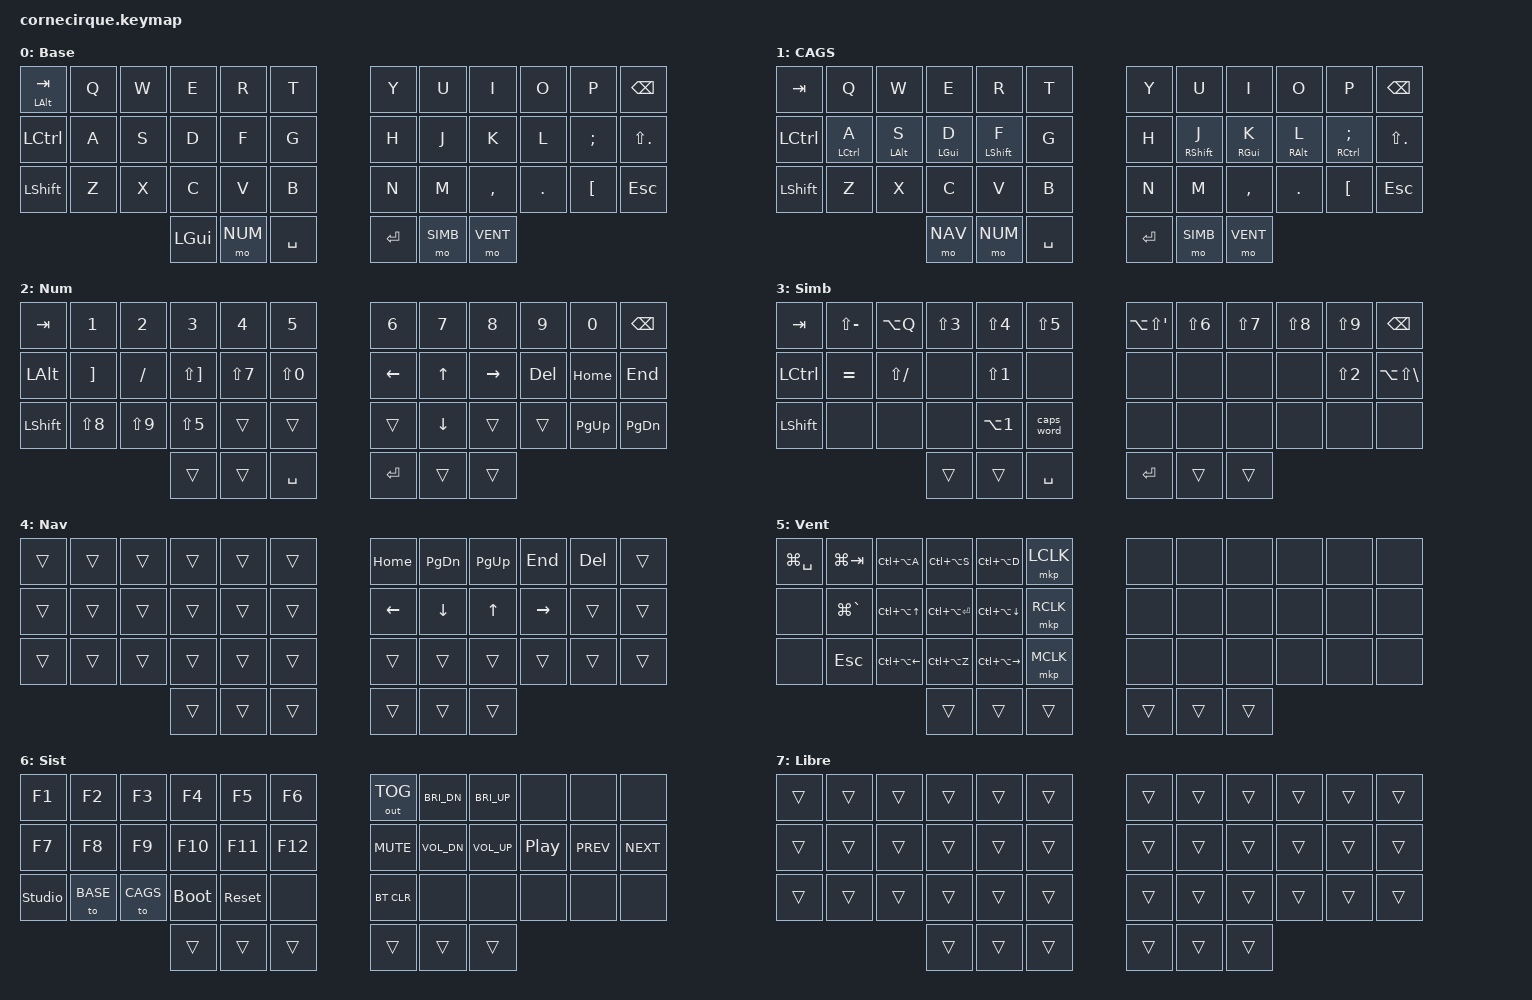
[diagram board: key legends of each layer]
/*
 * Corne + Cirque — keymap de Oscar
 * Diseñado el 7-sep-2026. Reemplaza el original de DevH.
 *
 * Punto de retorno: firmware-original-2026-09-01/
 *
 * POSICIONES DE LAS 42 TECLAS
 *    0  1  2  3  4  5  │  6  7  8  9 10 11
 *   12 13 14 15 16 17  │ 18 19 20 21 22 23
 *   24 25 26 27 28 29  │ 30 31 32 33 34 35
 *         36 37 38     │    39 40 41
 */

#include <behaviors.dtsi>
#include <dt-bindings/zmk/keys.h>
#include <dt-bindings/zmk/bt.h>
#include <dt-bindings/zmk/pointing.h>
#include <dt-bindings/zmk/outputs.h>

#define BASE    0   // base — aprendiendo (modificadores físicos)
#define CAGS    1   // base — home row mods CAGS
#define NUM     2   // números
#define SIMB    3   // símbolos
#define NAV     4   // flechas, HOME/END, DEL
#define VENT    5   // ventanas (Rectangle) + clics del trackpad
#define SIST    6   // F1-F12, volumen, brillo, Bluetooth, Studio
#define LIBRE   7   // reserva — Studio NO puede agregar capas después

// Manos, para la regla de combinaciones bilaterales
#define IZQ   0  1  2  3  4  5 12 13 14 15 16 17 24 25 26 27 28 29
#define DER   6  7  8  9 10 11 18 19 20 21 22 23 30 31 32 33 34 35
#define PULG 36 37 38 39 40 41

/ {
        behaviors {
                // Home row mods «timeless» (urob). Un modificador SOLO dispara
                // si la otra tecla está en la mano contraria.
                hml: home_row_izquierda {
                        compatible = "zmk,behavior-hold-tap";
                        #binding-cells = <2>;
                        bindings = <&kp>, <&kp>;
                        flavor = "balanced";
                        tapping-term-ms = <280>;
                        quick-tap-ms = <175>;
                        require-prior-idle-ms = <150>;
                        hold-trigger-key-positions = <DER PULG>;
                        hold-trigger-on-release;
                };

                hmr: home_row_derecha {
                        compatible = "zmk,behavior-hold-tap";
                        #binding-cells = <2>;
                        bindings = <&kp>, <&kp>;
                        flavor = "balanced";
                        tapping-term-ms = <280>;
                        quick-tap-ms = <175>;
                        require-prior-idle-ms = <150>;
                        hold-trigger-key-positions = <IZQ PULG>;
                        hold-trigger-on-release;
                };
        };

        // Pisar NUM y SIMB a la vez abre SIST. No gasta ningún pulgar.
        conditional_layers {
                compatible = "zmk,conditional-layers";
                sistema {
                        if-layers = <NUM SIMB>;
                        then-layer = <SIST>;
                };
        };

        keymap {
                compatible = "zmk,keymap";

// ============================================================================
                base_aprendiendo {
                        display-name = "Base";
// Modificadores FÍSICOS mientras aprendes a teclear. Nada de tiempos.
// Cerrada por Oscar el 8-sep-2026: «asi la quiero».
//
// |⇥ o ⌥|  Q  |  W  |  E  |  R  |  T  |   |  Y  |  U  |  I  |  O  |  P  | BSPC |
// | CTRL |  A  |  S  |  D  |  F  |  G  |   |  H  |  J  |  K  |  L  |  Ñ  |  :   |
// | SHFT |  Z  |  X  |  C  |  V  |  B  |   |  N  |  M  |  ,  |  .  |  ´  | ESC  |
//                    | GUI | NUM | SPC |   | ENT | SIMB| VENT|
//
// OJO, layout LATINOAMERICANO -- los nombres de ZMK enganan:
//   pos 22  &kp SEMI      escribe  Ñ   (no ";")
//   pos 23  &kp LS(DOT)   escribe  :
//   pos 34  &kp LBKT      es la TECLA MUERTA del acento: se toca, no sale nada,
//           y la vocal siguiente sale acentuada.  ´ + a = á
//           Con shift, esa misma tecla da la dieresis: ¨ + u = ü
//
// El acento va SIEMPRE antes de la vocal. Al reves no funciona.
                        bindings = <
   &mt LALT TAB &kp Q &kp W &kp E &kp R &kp T    &kp Y &kp U &kp I     &kp O   &kp P         &kp BSPC
   &kp LCTRL    &kp A &kp S &kp D &kp F &kp G    &kp H &kp J &kp K     &kp L   &kp SEMI      &kp LS(DOT)
   &kp LSHFT    &kp Z &kp X &kp C &kp V &kp B    &kp N &kp M &kp COMMA &kp DOT &kp LBKT      &kp ESC
        &kp LGUI &mo NUM &kp SPACE   &kp RET &mo SIMB &mo VENT
                        >;
                };

// ============================================================================
                base_cags {
                        display-name = "CAGS";
// Home row mods. Se llega con &to CAGS desde la capa SIST, y se regresa igual.
// Mantener = modificador · Tocar = letra.  Orden CAGS: ⌃ ⌥ ⌘ ⇧ (meñique→índice)
// Las LETRAS Y SIMBOLOS son EXACTAMENTE los de la capa Base. Lo unico que
// cambia es que la fila de casa lleva los modificadores al mantener, y que el
// pulgar de la orilla abre NAV en vez de ser ⌘.
//
// | TAB  |A/⌃ |S/⌥ |D/⌘ |F/⇧ |  G  |   |  H  |J/⇧ |K/⌘ |L/⌥ |Ñ/⌃ |  :   |
// | SHFT |  Z |  X |  C |  V |  B  |   |  N  |  M |  , |  . |  ´ | ESC  |
//                    | NAV | NUM | SPC |   | ENT | SIMB| VENT|
                        bindings = <
   &kp TAB   &kp Q        &kp W       &kp E       &kp R        &kp T    &kp Y &kp U        &kp I       &kp O       &kp P           &kp BSPC
   &kp LCTRL &hml LCTRL A &hml LALT S &hml LGUI D &hml LSHFT F &kp G    &kp H &hmr RSHFT J &hmr RGUI K &hmr RALT L &hmr RCTRL SEMI &kp LS(DOT)
   &kp LSHFT &kp Z        &kp X       &kp C       &kp V        &kp B    &kp N &kp M        &kp COMMA   &kp DOT     &kp LBKT        &kp ESC
        &mo NAV &mo NUM &kp SPACE   &kp RET &mo SIMB &mo VENT
                        >;
                };

// ============================================================================
                numeros {
                        display-name = "Num";
// Mano IZQUIERDA para calcular, mano DERECHA para moverse.
// Ampliada el 8-sep-2026: los operadores y las cinco de navegacion, que antes
// solo vivian en la capa Nav -- inalcanzable si no usas CAGS.
//
// |  TAB |  1  |  2  |  3  |  4  |  5  |   |  6  |  7  |  8  |  9  |  0  | BSPC |
// |  ALT |  +  |  -  |  *  |  /  |  =  |   |  <- |  ^  |  -> | DEL |HOME | END  |
// | SHFT |  (  |  )  |  %  |     |     |   |     |  v  |     |     |PGUP | PGDN |
//
// OJO layout LATINOAMERICANO: + es RBKT, - es FSLH, * es LS(RBKT),
// / es LS(N7), = es LS(N0), ( es LS(N8), ) es LS(N9), % es LS(N5).
// El punto decimal no hace falta ponerlo: &trans lo deja caer a la capa Base.
                        bindings = <
   &kp TAB   &kp N1       &kp N2     &kp N3     &kp N4     &kp N5       &kp N6 &kp N7    &kp N8    &kp N9  &kp N0     &kp BSPC
   &kp LALT  &kp RBKT     &kp FSLH   &kp LS(RBKT) &kp LS(N7) &kp LS(N0) &kp LEFT &kp UP  &kp RIGHT &kp DEL &kp HOME   &kp END
   &kp LSHFT &kp LS(N8)   &kp LS(N9) &kp LS(N5) &trans     &trans       &trans &kp DOWN  &trans    &trans  &kp PG_UP  &kp PG_DN
        &trans &trans &kp SPACE   &kp RET &trans &trans
                        >;
                };

// ============================================================================
                simbolos {
                        display-name = "Simb";
// ATADO AL LAYOUT **LATINOAMERICANO** de macOS -- medido el 8-sep-2026 con
// UCKeyTranslate contra el layout activo (KeyboardLayout ID 89).
// El teclado manda scancodes; la letra la decide el layout del sistema. Por eso
// aqui NO se usan los nombres bonitos de ZMK (&kp AT, &kp LBRC...): esos estan
// pensados para QWERTY ingles y en esta Mac escriben otra cosa.
// Si algun dia la Mac se pasa a ingles, esta capa entera se descuadra.
//
// | TAB |  ? |  @ |  # |  $ |  % |   |  ^ |  & |  / |  ( |  ) | BSPC |
// | CTL |  ¿ |  _ |    |  ! |    |   |    |    |    |    |  " |  `   |
// | SFT |    |    |    |  ¡ |CAPS|   |    |    |    |    |    |      |
//
// Cerrada el 8-sep-2026. Tres decisiones de Oscar:
//   1. Los corchetes, llaves y barras NO van: no los ocupa.
//   2. Los operadores de cuenta pura (+ - * =) viven en la capa NUM, junto a
//      los digitos. Aqui se quedan solo ( ) % / , que caen escribiendo texto.
//   3. Las teclas sin uso son &none, no &trans: antes escribian la letra de la
//      capa Base y se colaban letras sueltas al teclear simbolos.
//
// CAPS = &caps_word: se toca y SOLO la palabra siguiente sale en mayusculas.
// Se apaga sola al llegar al espacio.
                        bindings = <
   &kp TAB   &kp LS(MINUS) &kp LA(Q)  &kp LS(N3) &kp LS(N4) &kp LS(N5)    &kp LA(LS(SQT)) &kp LS(N6) &kp LS(N7) &kp LS(N8) &kp LS(N9) &kp BSPC
   &kp LCTRL &kp EQUAL     &kp LS(FSLH) &none    &kp LS(N1) &none         &none           &none      &none      &none      &kp LS(N2) &kp LA(LS(BSLH))
   &kp LSHFT &none         &none      &none      &kp LA(N1) &caps_word    &none           &none      &none      &none      &none      &none
        &trans &trans &kp SPACE   &kp RET &trans &trans
                        >;
                };

// ============================================================================
                nav {
                        display-name = "Nav";
// Cada tecla nueva cae JUSTO ARRIBA de su flecha.
// HOME sobre ← · PGDN sobre ↓ · PGUP sobre ↑ · END sobre →
                        bindings = <
   &trans &trans &trans &trans &trans &trans    &kp HOME &kp PG_DN &kp PG_UP &kp END   &kp DEL &trans
   &trans &trans &trans &trans &trans &trans    &kp LEFT &kp DOWN  &kp UP    &kp RIGHT &trans  &trans
   &trans &trans &trans &trans &trans &trans    &trans   &trans    &trans    &trans    &trans  &trans
        &trans &trans &trans   &trans &trans &trans
                        >;
                };

// ============================================================================
                ventanas {
                        display-name = "Vent";
// Se SOSTIENE con el pulgar derecho, se opera con la mano IZQUIERDA.
// Así la mano derecha se queda en el trackpad.
//
//   La FILA es la pantalla:  arriba = el monitor  ·  abajo = la Mac
//   La COLUMNA es el lugar:  izquierda — centro — derecha
//
// |SPOT |⌘Tab | ⅓IZQ| ⅓CTR| ⅓DER| CLIC  |   |  —  |  —  |  —  |  —  |  —  |  —  |
// |  —  | ⌘`  |↑PANT| MAX |↓PANT| CLIC·D|   |  —  |  —  |  —  |  —  |  —  |  —  |
// |  —  | ESC | ½IZQ| REST| ½DER| CLIC·M|   |  —  |  —  |  —  |  —  |  —  |  —  |
//
// Cerrada el 8-sep-2026. La mano DERECHA entera es &none, no &trans: antes
// seguía escribiendo letras (y u i o p h j k l ñ n m ´) justo cuando esa mano
// está en el trackpad. Un roce metía una letra en el documento.
//
// Los nueve de acomodar ventanas son atajos de RECTANGLE, comprobados contra
// su configuración el 8-sep-2026. Si algún día Rectangle cambia de atajos,
// estas nueve dejan de servir aunque el teclado siga bien.
// OJO: ↑PANT y ↓PANT son nextDisplay y previousDisplay; con dos pantallas
// las dos mandan la ventana a la otra, o sea que hacen lo mismo.
//
// SPOT = &kp LG(SPACE) = ⌘espacio, el Spotlight de macOS: el buscador que abre
// apps. Es la lupa que Oscar usaba en el F4 del teclado de la Mac; en un teclado
// externo no existe esa tecla, se manda el atajo. Va pegada a ⌘Tab a proposito:
// una salta entre apps abiertas, la otra abre la que no lo esta.
                        bindings = <
   &kp LG(SPACE) &kp LG(TAB)   &kp LC(LA(A))    &kp LC(LA(S))   &kp LC(LA(D))     &mkp LCLK    &none &none &none &none &none &none
   &none &kp LG(GRAVE) &kp LC(LA(UP))   &kp LC(LA(RET)) &kp LC(LA(DOWN))  &mkp RCLK    &none &none &none &none &none &none
   &none &kp ESC       &kp LC(LA(LEFT)) &kp LC(LA(Z))   &kp LC(LA(RIGHT)) &mkp MCLK    &none &none &none &none &none &none
        &trans &trans &trans   &trans &trans &trans
                        >;
                };

// ============================================================================
                sistema {
                        display-name = "Sist";
// Se abre pisando NUM y SIMB a la vez. Aquí vive lo que se aprieta una vez al año.
//
// |  F1  | F2  | F3  | F4  | F5  | F6  |   |USB/BT|BRI- |BRI+ |  —  |  —  |  —  |
// |  F7  | F8  | F9  | F10 | F11 | F12 |   |MUTE  |VOL- |VOL+ |PLAY | <<  | >>  |
// |STUDIO|→BASE|→CAGS|BOOT |RESET|  —  |   |BTCLR |  —  |  —  |  —  |  —  |  —  |
//
// Cerrada el 8-sep-2026. Los cinco perfiles de Bluetooth (BT_SEL 0..4) se
// quitaron: Oscar usa el teclado solo con su Mac, un perfil, y saltar entre
// aparatos no le sirve. Quedan las dos de emergencia:
//   BTCLR   borra el emparejamiento -- si las dos mitades dejan de verse.
//   USB/BT  &out OUT_TOG, cambia a cable -- si el Bluetooth falla, sin esto el
//           teclado no escribe ni conectandolo por USB.
// Las teclas sin uso son &none: en la capa donde viven BOOT y RESET, no conviene
// que las vacias sigan soltando letras de la capa Base.
                        bindings = <
   &kp F1         &kp F2   &kp F3   &kp F4      &kp F5     &kp F6     &out OUT_TOG &kp C_BRI_DN &kp C_BRI_UP &none    &none      &none
   &kp F7         &kp F8   &kp F9   &kp F10     &kp F11    &kp F12    &kp C_MUTE   &kp C_VOL_DN &kp C_VOL_UP &kp C_PP &kp C_PREV &kp C_NEXT
   &studio_unlock &to BASE &to CAGS &bootloader &sys_reset &none      &bt BT_CLR   &none        &none        &none    &none      &none
        &trans &trans &trans   &trans &trans &trans
                        >;
                };

// ============================================================================
                libre {
                        display-name = "Libre";
// Vacía a propósito. ZMK Studio NO puede agregar capas después del build:
// ésta es la que queda para cuando se te ocurra algo.
                        bindings = <
   &trans &trans &trans &trans &trans &trans    &trans &trans &trans &trans &trans &trans
   &trans &trans &trans &trans &trans &trans    &trans &trans &trans &trans &trans &trans
   &trans &trans &trans &trans &trans &trans    &trans &trans &trans &trans &trans &trans
        &trans &trans &trans   &trans &trans &trans
                        >;
                };
        };
};
